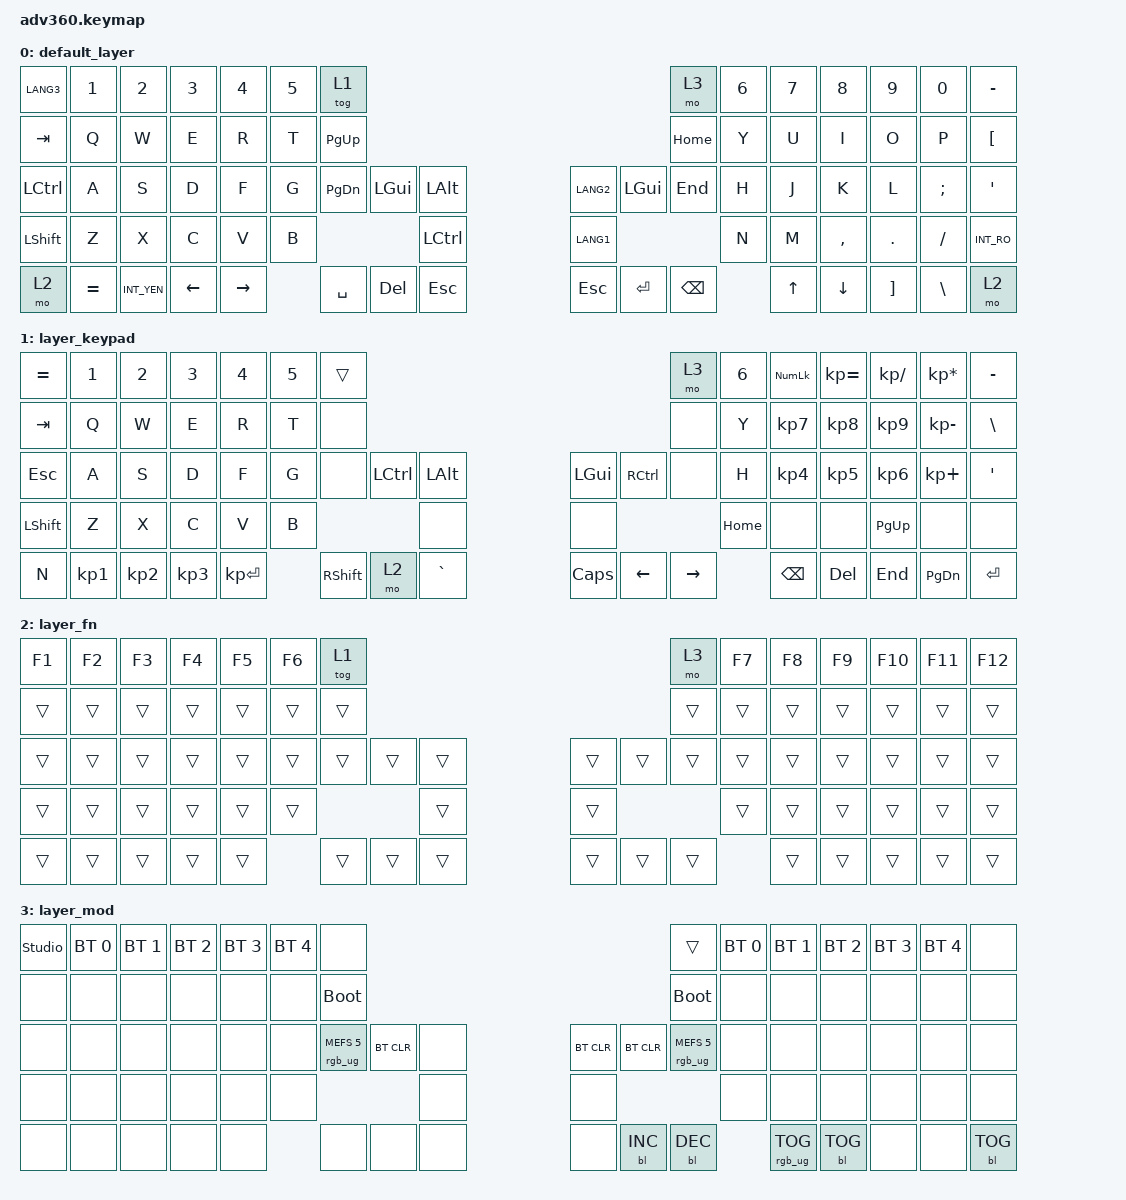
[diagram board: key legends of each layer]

/*
 * Copyright (c) 2020 The ZMK Contributors
 *
 * SPDX-License-Identifier: MIT
 */


/* THIS FILE WAS GENERATED!
 *
 * This file was generated automatically. You may or may not want to
 * edit it directly.
 */

#include <behaviors.dtsi>
#include <dt-bindings/zmk/keys.h>
#include <dt-bindings/zmk/bt.h>
#include <dt-bindings/zmk/rgb.h>
#include <dt-bindings/zmk/backlight.h>

/ {
  behaviors {
    #include "macros.dtsi"
    #include "version.dtsi"

    hm: homerow_mods {
        compatible = "zmk,behavior-hold-tap";
        label = "HOMEROW_MODS";
        #binding-cells = <2>;
        tapping-term-ms = <200>;
        quick_tap_ms = <175>;
        flavor = "tap-preferred";
        bindings = <&kp>, <&kp>;
    };
  };

    keymap {
        compatible = "zmk,keymap";


        default_layer {
            bindings = <
 &kp LANG3     &kp N1       &kp N2    &kp N3     &kp N4  &kp N5               &tog 1                                                                    &mo 3  &kp N6  &kp N7     &kp N8             &kp N9         &kp N0         &kp MINUS
   &kp TAB      &kp Q        &kp W     &kp E      &kp R   &kp T            &kp PG_UP                                                                 &kp HOME   &kp Y   &kp U      &kp I              &kp O          &kp P  &kp LEFT_BRACKET
 &kp LCTRL      &kp A        &kp S     &kp D      &kp F   &kp G            &kp PG_DN  &kp LGUI   &kp LALT                  &kp LANG2  &kp LGUI        &kp END   &kp H   &kp J      &kp K              &kp L       &kp SEMI  &kp SINGLE_QUOTE
 &kp LSHFT      &kp Z        &kp X     &kp C      &kp V   &kp B                                 &kp LCTRL                  &kp LANG1                            &kp N   &kp M  &kp COMMA         &kp PERIOD      &kp SLASH        &kp INT_RO
     &mo 2  &kp EQUAL  &kp INT_YEN  &kp LEFT  &kp RIGHT                    &kp SPACE   &kp DEL    &kp ESC                    &kp ESC   &kp RET  &kp BACKSPACE          &kp UP   &kp DOWN  &kp RIGHT_BRACKET  &kp BACKSLASH             &mo 2
            >;
        };

        layer_keypad {
            bindings = <
 &kp EQUAL     &kp N1     &kp N2     &kp N3        &kp N4  &kp N5               &trans                                                                 &mo 3    &kp N6  &kp KP_NUM  &kp KP_EQUAL  &kp KP_DIVIDE  &kp KP_MULTIPLY  &kp MINUS
   &kp TAB      &kp Q      &kp W      &kp E         &kp R   &kp T                &none                                                                 &none     &kp Y   &kp KP_N7     &kp KP_N8      &kp KP_N9     &kp KP_MINUS   &kp BSLH
   &kp ESC      &kp A      &kp S      &kp D         &kp F   &kp G                &none  &kp LCTRL   &kp LALT                  &kp LGUI  &kp RCTRL      &none     &kp H   &kp KP_N4     &kp KP_N5      &kp KP_N6      &kp KP_PLUS    &kp SQT
 &kp LSHFT      &kp Z      &kp X      &kp C         &kp V   &kp B                                      &none                     &none                        &kp HOME       &none         &none      &kp PG_UP            &none      &none
     &kp N  &kp KP_N1  &kp KP_N2  &kp KP_N3  &kp KP_ENTER                    &kp RSHFT      &mo 2  &kp GRAVE                  &kp CAPS   &kp LEFT  &kp RIGHT              &kp BSPC       &kp DEL        &kp END        &kp PG_DN  &kp ENTER
            >;
        };

        layer_fn {
            bindings = <
 &kp F1  &kp F2  &kp F3  &kp F4  &kp F5  &kp F6            &tog 1                                                   &mo 3  &kp F7  &kp F8  &kp F9  &kp F10  &kp F11  &kp F12
 &trans  &trans  &trans  &trans  &trans  &trans            &trans                                                  &trans  &trans  &trans  &trans   &trans   &trans   &trans
 &trans  &trans  &trans  &trans  &trans  &trans            &trans  &trans  &trans                  &trans  &trans  &trans  &trans  &trans  &trans   &trans   &trans   &trans
 &trans  &trans  &trans  &trans  &trans  &trans                            &trans                  &trans                  &trans  &trans  &trans   &trans   &trans   &trans
 &trans  &trans  &trans  &trans  &trans                    &trans  &trans  &trans                  &trans  &trans  &trans          &trans  &trans   &trans   &trans   &trans
            >;
        };

        layer_mod {
            bindings = <
  &studio_unlock  &bt BT_SEL 0  &bt BT_SEL 1  &bt BT_SEL 2  &bt BT_SEL 3  &bt BT_SEL 4                             &none                                                                              &trans  &bt BT_SEL 0     &bt BT_SEL 1  &bt BT_SEL 2  &bt BT_SEL 3  &bt BT_SEL 4       &none
  &none         &none         &none         &none         &none         &none                       &bootloader                                                                         &bootloader         &none            &none         &none         &none         &none       &none
  &none         &none         &none         &none         &none         &none            &rgb_ug RGB_MEFS_CMD 5  &bt BT_CLR   &none                  &bt BT_CLR  &bt BT_CLR  &rgb_ug RGB_MEFS_CMD 5         &none            &none         &none         &none         &none       &none
  &none         &none         &none         &none         &none         &none                                                 &none                       &none                                             &none            &none         &none         &none         &none       &none
  &none         &none         &none         &none         &none                                           &none       &none   &none                       &none  &bl BL_INC              &bl BL_DEC                &rgb_ug RGB_TOG    &bl BL_TOG         &none         &none  &bl BL_TOG
            >;
        };

    };
};
